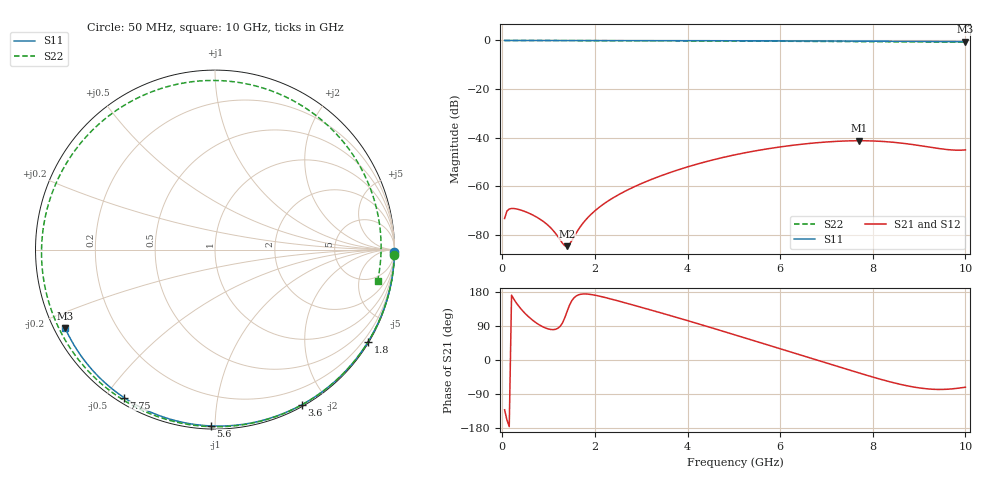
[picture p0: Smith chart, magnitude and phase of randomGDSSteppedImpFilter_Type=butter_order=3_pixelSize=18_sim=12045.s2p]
! freq	dB(S11)	phase(S11)	dB(S12)	phase(S12)
!  dB(S21)	phase(S21)	dB(S22)	phase(S22)
!S-par simulation data
#  GHz  S  DB  R 50
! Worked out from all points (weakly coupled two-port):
!   200 points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, 50 MHz to 10 GHz, reference 50 ohm
!   highest |S21| = -41.26 dB at 7.7 GHz (marker M1); lowest = -84.6 dB at 1.4 GHz (marker M2)
!   lowest |S11| = -0.5 dB at 10 GHz (marker M3), VSWR 33.84, Z = 1.57 - j12.3 ohm
!   |S11| at or under -10 dB: nowhere
!   |S22| runs from -0.7 to 0.0 dB; largest |S21 - S12| = 0
!   S11 on the Smith chart (normalised r, x): 50 MHz: open; 1.8 GHz: 0.03, -3.58; 3.6 GHz: 0.02, -1.70; 5.6 GHz: 0.02, -0.98; 7.75 GHz: 0.02, -0.56; 10 GHz: 0.03, -0.25
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0.05  -0.00 -0.9  -73.25 -131.5  -73.25 -131.5  -0.00 -1.6
0.15  -0.00 -2.6  -69.36 -175.8  -69.36 -175.8  -0.00 -4.9
0.35  -0.01 -6.2  -69.51 142.9  -69.51 142.9  -0.01 -11.4
0.8  -0.02 -14.0  -73.35 92.6  -73.35 92.6  -0.03 -25.9
1.2  -0.03 -21.0  -80.68 83.7  -80.68 83.7  -0.05 -38.6
1.4  -0.03 -24.4  -84.64 128.3  -84.64 128.3  -0.06 -44.9
1.55  -0.03 -27.0  -80.72 164.3  -80.72 164.3  -0.06 -49.6
1.75  -0.04 -30.4  -75.00 174.3  -75.00 174.3  -0.07 -55.8
1.8  -0.04 -31.2  -73.86 174.3  -73.86 174.3  -0.07 -57.3
2.4  -0.05 -41.3  -64.68 159.2  -64.68 159.2  -0.10 -75.7
3.4  -0.08 -57.7  -55.86 125.2  -55.86 125.2  -0.14 -105.6
3.6  -0.08 -60.9  -54.50 118.2  -54.50 118.2  -0.15 -111.5
5.05  -0.13 -83.2  -46.95 65.3  -46.95 65.3  -0.23 -155.2
5.6  -0.15 -91.3  -44.98 44.7  -44.98 44.7  -0.28 -172.9
6.15  -0.18 -99.3  -43.42 24.2  -43.42 24.2  -0.33 168.2
6.7  -0.21 -107.0  -42.24 3.6  -42.24 3.6  -0.38 147.7
7.7  -0.28 -120.9  -41.26 -34.1  -41.26 -34.1  -0.49 104.9
7.75  -0.28 -121.6  -41.26 -35.9  -41.26 -35.9  -0.49 102.5
8.35  -0.33 -129.7  -41.74 -56.9  -41.74 -56.9  -0.55 73.2
8.75  -0.37 -135.2  -42.55 -68.3  -42.55 -68.3  -0.58 52.6
9.25  -0.42 -142.0  -43.96 -76.9  -43.96 -76.9  -0.62 26.6
10  -0.51 -152.2  -45.04 -71.8  -45.04 -71.8  -0.70 -10.9
